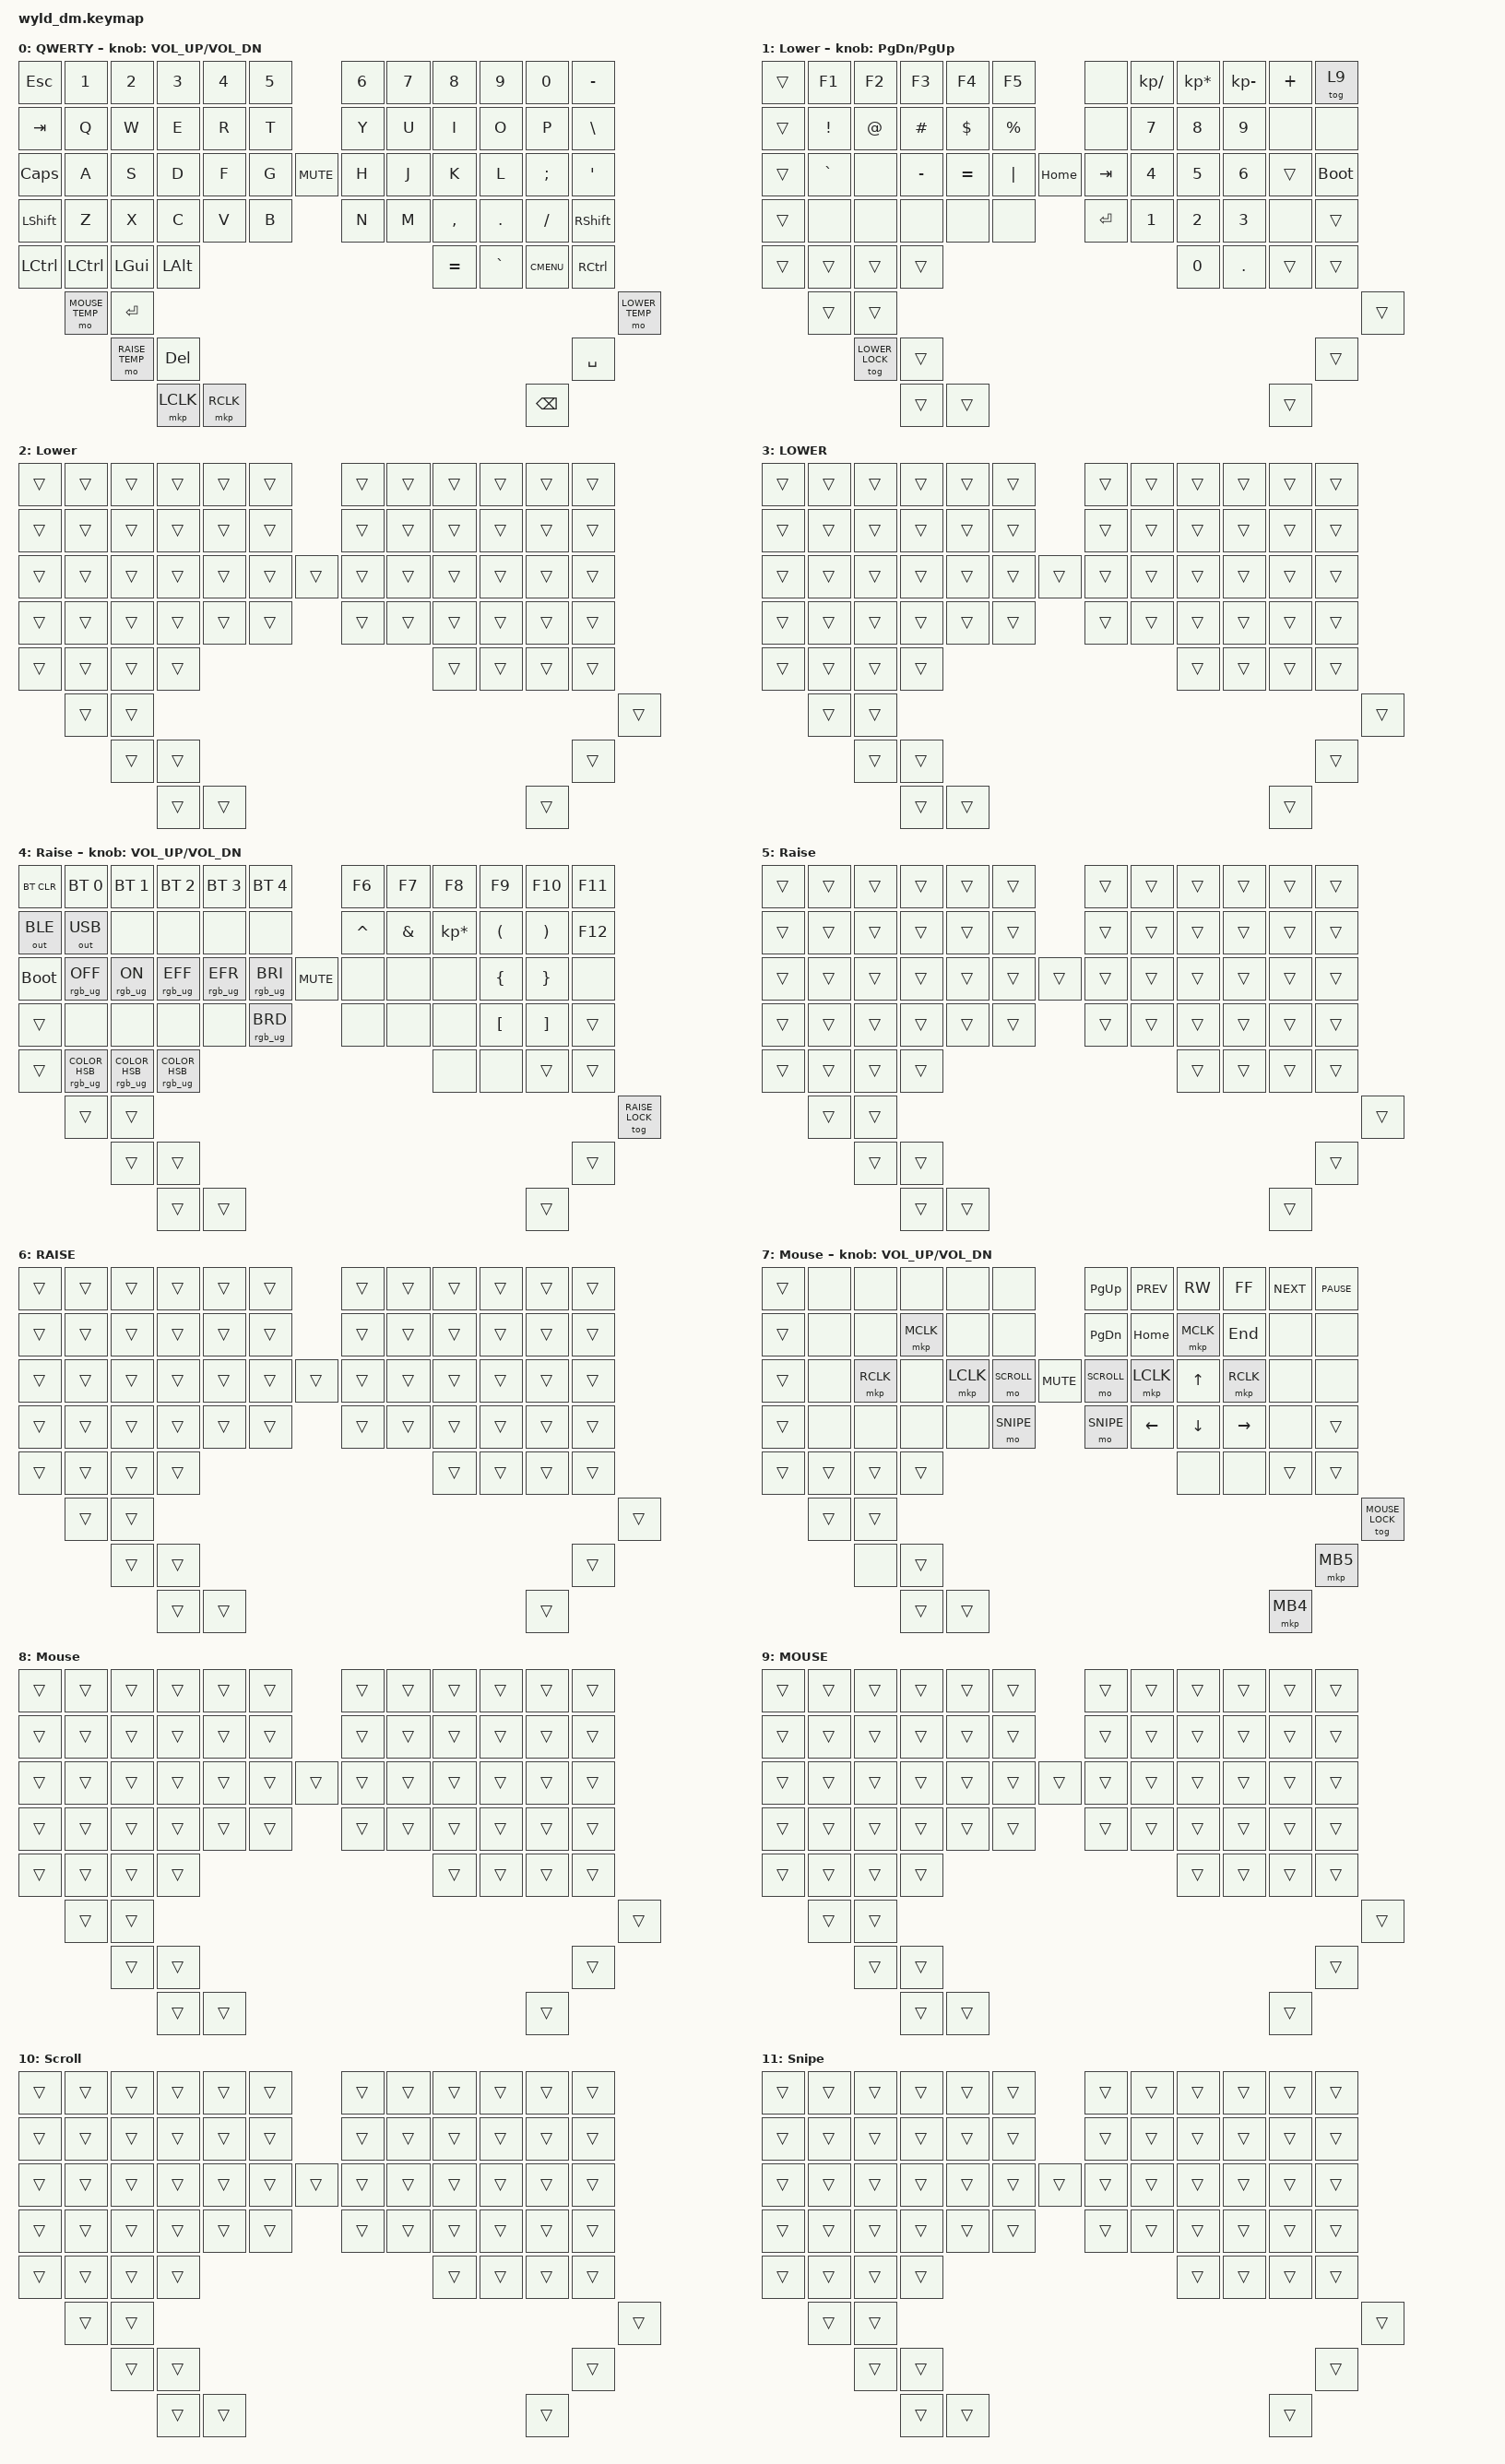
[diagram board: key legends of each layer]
/*
 * Copyright (c) 2020 The ZMK Contributors
 *
 * SPDX-License-Identifier: MIT
 */

#include <dt-bindings/led/led.h>
#include <behaviors/mouse_keys.dtsi>
#include <behaviors.dtsi>
#include <dt-bindings/zmk/bt.h>
#include <dt-bindings/zmk/keys.h>
#include <dt-bindings/zmk/mouse.h>
#include <dt-bindings/zmk/outputs.h>
#include <dt-bindings/zmk/rgb.h>

#define QWERTY 0
#define LOWER 1
#define LOWER_TEMP 2
#define LOWER_LOCK 3
#define RAISE 4
#define RAISE_TEMP 5
#define RAISE_LOCK 6
#define MOUSE 7
#define MOUSE_TEMP 8
#define MOUSE_LOCK 9
#define SCROLL 10
#define SNIPE 11

// 5x6

/ {
    conditional_layers {
        compatible = "zmk,conditional-layers";

        lower_temp {
            if-layers = <LOWER_TEMP>;
            then-layer = <LOWER>;
        };

        lower_lock {
            if-layers = <LOWER_LOCK>;
            then-layer = <LOWER>;
        };

        raise_temp {
            if-layers = <RAISE_TEMP>;
            then-layer = <RAISE>;
        };

        raise_lock {
            if-layers = <RAISE_LOCK>;
            then-layer = <RAISE>;
        };

        mouse_temp {
            if-layers = <MOUSE_TEMP>;
            then-layer = <MOUSE>;
        };

        mouse_lock {
            if-layers = <MOUSE_LOCK>;
            then-layer = <MOUSE>;
        };
    };

    keymap {
        compatible = "zmk,keymap";

        default_layer {
            display-name = "QWERTY";
            bindings = <
&kp ESC    &kp N1          &kp N2          &kp N3        &kp N4     &kp N5              &kp N6  &kp N7  &kp N8     &kp N9     &kp N0       &kp MINUS
&kp TAB    &kp Q           &kp W           &kp E         &kp R      &kp T               &kp Y   &kp U   &kp I      &kp O      &kp P        &kp BACKSLASH
&kp CAPS   &kp A           &kp S           &kp D         &kp F      &kp G   &kp C_MUTE  &kp H   &kp J   &kp K      &kp L      &kp SEMI     &kp SQT
&kp LSHFT  &kp Z           &kp X           &kp C         &kp V      &kp B               &kp N   &kp M   &kp COMMA  &kp DOT    &kp FSLH     &kp RSHFT
&kp LCTRL  &kp LCTRL       &kp LGUI        &kp LEFT_ALT                                                 &kp EQUAL  &kp GRAVE  &kp K_CMENU  &kp RCTRL
           &mo MOUSE_TEMP  &kp ENTER                                                                                                                      &mo LOWER_TEMP
                           &mo RAISE_TEMP  &kp DEL                                                                                         &kp SPACE
                                           &mkp LCLK     &mkp RCLK                                                            &kp BSPC
            >;

            sensor-bindings = <&inc_dec_kp C_VOL_UP C_VOL_DN>;
        };

        lower_layer {
            display-name = "Lower";
            bindings = <
&trans  &kp F1     &kp F2           &kp F3     &kp F4      &kp F5               &none      &kp KP_DIVIDE  &kp KP_MULTIPLY  &kp KP_MINUS  &kp PLUS  &tog 9
&trans  &kp EXCL   &kp AT           &kp HASH   &kp DOLLAR  &kp PRCNT            &none      &kp N7         &kp N8           &kp N9        &none     &none
&trans  &kp GRAVE  &none            &kp MINUS  &kp EQUAL   &kp PIPE   &kp HOME  &kp TAB    &kp N4         &kp N5           &kp N6        &trans    &bootloader
&trans  &none      &none            &none      &none       &none                &kp ENTER  &kp N1         &kp N2           &kp N3        &none     &trans
&trans  &trans     &trans           &trans                                                                &kp N0           &kp DOT       &trans    &trans
        &trans     &trans                                                                                                                                       &trans
                   &tog LOWER_LOCK  &trans                                                                                                         &trans
                                    &trans     &trans                                                                                    &trans
            >;

            sensor-bindings = <&inc_dec_kp PG_DN PG_UP>;
        };

        lower_temp {
            display-name = "Lower";
            bindings = <
&trans  &trans  &trans  &trans  &trans  &trans          &trans  &trans  &trans  &trans  &trans  &trans
&trans  &trans  &trans  &trans  &trans  &trans          &trans  &trans  &trans  &trans  &trans  &trans
&trans  &trans  &trans  &trans  &trans  &trans  &trans  &trans  &trans  &trans  &trans  &trans  &trans
&trans  &trans  &trans  &trans  &trans  &trans          &trans  &trans  &trans  &trans  &trans  &trans
&trans  &trans  &trans  &trans                                          &trans  &trans  &trans  &trans
        &trans  &trans                                                                                  &trans
                &trans  &trans                                                                  &trans
                        &trans  &trans                                                  &trans
            >;
        };

        lower_lock {
            display-name = "LOWER";
            bindings = <
&trans  &trans  &trans  &trans  &trans  &trans          &trans  &trans  &trans  &trans  &trans  &trans
&trans  &trans  &trans  &trans  &trans  &trans          &trans  &trans  &trans  &trans  &trans  &trans
&trans  &trans  &trans  &trans  &trans  &trans  &trans  &trans  &trans  &trans  &trans  &trans  &trans
&trans  &trans  &trans  &trans  &trans  &trans          &trans  &trans  &trans  &trans  &trans  &trans
&trans  &trans  &trans  &trans                                          &trans  &trans  &trans  &trans
        &trans  &trans                                                                                  &trans
                &trans  &trans                                                                  &trans
                        &trans  &trans                                                  &trans
            >;
        };

        raise_layer {
            display-name = "Raise";
            bindings = <
&bt BT_CLR    &bt BT_SEL 0                      &bt BT_SEL 1                        &bt BT_SEL 2                        &bt BT_SEL 3     &bt BT_SEL 4                 &kp F6     &kp F7    &kp F8           &kp F9    &kp F10   &kp F11
&out OUT_BLE  &out OUT_USB                      &none                               &none                               &none            &none                        &kp CARET  &kp AMPS  &kp KP_MULTIPLY  &kp LPAR  &kp RPAR  &kp F12
&bootloader   &rgb_ug RGB_OFF                   &rgb_ug RGB_ON                      &rgb_ug RGB_EFF                     &rgb_ug RGB_EFR  &rgb_ug RGB_BRI  &kp C_MUTE  &none      &none     &none            &kp LBRC  &kp RBRC  &none
&trans        &none                             &none                               &none                               &none            &rgb_ug RGB_BRD              &none      &none     &none            &kp LBKT  &kp RBKT  &trans
&trans        &rgb_ug RGB_COLOR_HSB(0,100,30)   &rgb_ug RGB_COLOR_HSB(120,100,30)   &rgb_ug RGB_COLOR_HSB(240,100,30)                                                                      &none            &none     &trans    &trans
              &trans                            &trans                                                                                                                                                                                   &tog RAISE_LOCK
                                                &trans                              &trans                                                                                                                                      &trans
                                                                                    &trans                              &trans                                                                                        &trans
            >;

            sensor-bindings = <&inc_dec_kp C_VOL_UP C_VOL_DN>;
        };

        raise_temp {
            display-name = "Raise";
            bindings = <
&trans  &trans  &trans  &trans  &trans  &trans          &trans  &trans  &trans  &trans  &trans  &trans
&trans  &trans  &trans  &trans  &trans  &trans          &trans  &trans  &trans  &trans  &trans  &trans
&trans  &trans  &trans  &trans  &trans  &trans  &trans  &trans  &trans  &trans  &trans  &trans  &trans
&trans  &trans  &trans  &trans  &trans  &trans          &trans  &trans  &trans  &trans  &trans  &trans
&trans  &trans  &trans  &trans                                          &trans  &trans  &trans  &trans
        &trans  &trans                                                                                  &trans
                &trans  &trans                                                                  &trans
                        &trans  &trans                                                  &trans
            >;
        };

        raise_lock {
            display-name = "RAISE";
            bindings = <
&trans  &trans  &trans  &trans  &trans  &trans          &trans  &trans  &trans  &trans  &trans  &trans
&trans  &trans  &trans  &trans  &trans  &trans          &trans  &trans  &trans  &trans  &trans  &trans
&trans  &trans  &trans  &trans  &trans  &trans  &trans  &trans  &trans  &trans  &trans  &trans  &trans
&trans  &trans  &trans  &trans  &trans  &trans          &trans  &trans  &trans  &trans  &trans  &trans
&trans  &trans  &trans  &trans                                          &trans  &trans  &trans  &trans
        &trans  &trans                                                                                  &trans
                &trans  &trans                                                                  &trans
                        &trans  &trans                                                  &trans
            >;
        };

        mouse_layer {
            display-name = "Mouse";
            bindings = <
&trans  &none   &none      &none      &none      &none                   &kp PG_UP   &kp C_PREV  &kp C_RW   &kp C_FF   &kp C_NEXT  &kp C_PAUSE
&trans  &none   &none      &mkp MCLK  &none      &none                   &kp PG_DN   &kp HOME    &mkp MCLK  &kp END    &none       &none
&trans  &none   &mkp RCLK  &none      &mkp LCLK  &mo SCROLL  &kp C_MUTE  &mo SCROLL  &mkp LCLK   &kp UP     &mkp RCLK  &none       &none
&trans  &none   &none      &none      &none      &mo SNIPE               &mo SNIPE   &kp LEFT    &kp DOWN   &kp RIGHT  &none       &trans
&trans  &trans  &trans     &trans                                                                &none      &none      &trans      &trans
        &trans  &trans                                                                                                                          &tog MOUSE_LOCK
                &none      &trans                                                                                                  &mkp MB5
                           &trans     &trans                                                                           &mkp MB4
            >;

            sensor-bindings = <&inc_dec_kp C_VOL_UP C_VOL_DN>;
        };

        mouse_temp {
            display-name = "Mouse";
            bindings = <
&trans  &trans  &trans  &trans  &trans  &trans          &trans  &trans  &trans  &trans  &trans  &trans
&trans  &trans  &trans  &trans  &trans  &trans          &trans  &trans  &trans  &trans  &trans  &trans
&trans  &trans  &trans  &trans  &trans  &trans  &trans  &trans  &trans  &trans  &trans  &trans  &trans
&trans  &trans  &trans  &trans  &trans  &trans          &trans  &trans  &trans  &trans  &trans  &trans
&trans  &trans  &trans  &trans                                          &trans  &trans  &trans  &trans
        &trans  &trans                                                                                  &trans
                &trans  &trans                                                                  &trans
                        &trans  &trans                                                  &trans
            >;
        };

        mouse_lock {
            display-name = "MOUSE";
            bindings = <
&trans  &trans  &trans  &trans  &trans  &trans          &trans  &trans  &trans  &trans  &trans  &trans
&trans  &trans  &trans  &trans  &trans  &trans          &trans  &trans  &trans  &trans  &trans  &trans
&trans  &trans  &trans  &trans  &trans  &trans  &trans  &trans  &trans  &trans  &trans  &trans  &trans
&trans  &trans  &trans  &trans  &trans  &trans          &trans  &trans  &trans  &trans  &trans  &trans
&trans  &trans  &trans  &trans                                          &trans  &trans  &trans  &trans
        &trans  &trans                                                                                  &trans
                &trans  &trans                                                                  &trans
                        &trans  &trans                                                  &trans
            >;
        };

        scroll {
            display-name = "Scroll";
            bindings = <
&trans  &trans  &trans  &trans  &trans  &trans          &trans  &trans  &trans  &trans  &trans  &trans
&trans  &trans  &trans  &trans  &trans  &trans          &trans  &trans  &trans  &trans  &trans  &trans
&trans  &trans  &trans  &trans  &trans  &trans  &trans  &trans  &trans  &trans  &trans  &trans  &trans
&trans  &trans  &trans  &trans  &trans  &trans          &trans  &trans  &trans  &trans  &trans  &trans
&trans  &trans  &trans  &trans                                          &trans  &trans  &trans  &trans
        &trans  &trans                                                                                  &trans
                &trans  &trans                                                                  &trans
                        &trans  &trans                                                  &trans
            >;
        };

        snipe {
            display-name = "Snipe";
            bindings = <
&trans  &trans  &trans  &trans  &trans  &trans          &trans  &trans  &trans  &trans  &trans  &trans
&trans  &trans  &trans  &trans  &trans  &trans          &trans  &trans  &trans  &trans  &trans  &trans
&trans  &trans  &trans  &trans  &trans  &trans  &trans  &trans  &trans  &trans  &trans  &trans  &trans
&trans  &trans  &trans  &trans  &trans  &trans          &trans  &trans  &trans  &trans  &trans  &trans
&trans  &trans  &trans  &trans                                          &trans  &trans  &trans  &trans
        &trans  &trans                                                                                  &trans
                &trans  &trans                                                                  &trans
                        &trans  &trans                                                  &trans
            >;
        };
    };
};

&led_strip { chain-length = <88>; };
